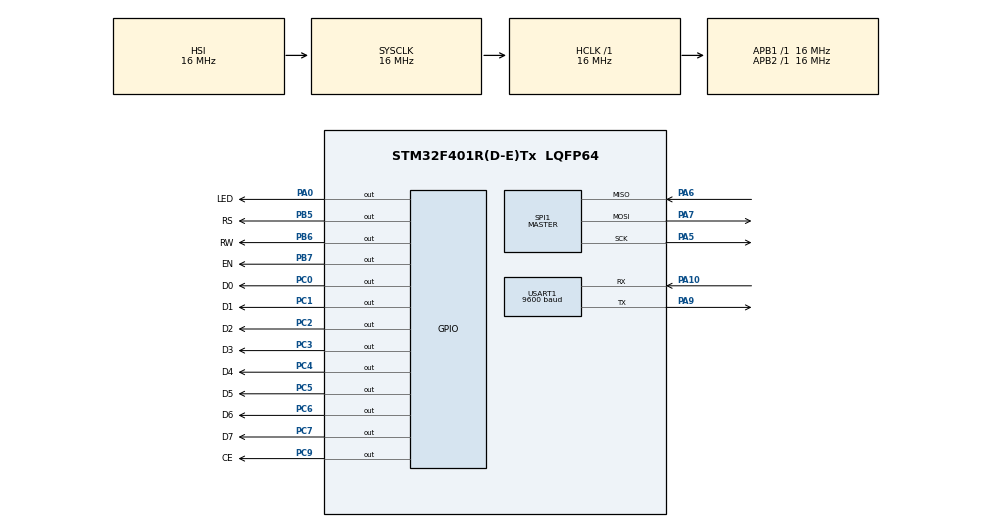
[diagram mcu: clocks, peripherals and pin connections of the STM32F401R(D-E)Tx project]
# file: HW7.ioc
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Mcu.Family=STM32F4
PA6.Mode=Full_Duplex_Master
RCC.CortexFreq_Value=16000000
PA7.Mode=Full_Duplex_Master
PA10.Mode=Asynchronous
SPI1.VirtualType=VM_MASTER
PC9.GPIO_Label=CE
USART1.BaudRate=9600
PC4.Signal=GPIO_Output
PC2.Signal=GPIO_Output
PC6.Signal=GPIO_Output
PC0.GPIO_Label=D0
PC6.GPIO_Label=D6
PB6.GPIO_Label=RW
SPI1.CLKPhase=SPI_PHASE_2EDGE
PC0.Signal=GPIO_Output
ProjectManager.StackSize=0x4000
PA0-WKUP.GPIO_Label=LED
PA0-WKUP.Signal=GPIO_Output
PA9.Mode=Asynchronous
ProjectManager.TargetToolchain=MDK-ARM V5
SPI1.Direction=SPI_DIRECTION_2LINES
PA9.Signal=USART1_TX
PB6.Signal=GPIO_Output
PC7.Signal=GPIO_Output
PC3.Signal=GPIO_Output
RCC.LSE_VALUE=32768
RCC.AHBFreq_Value=16000000
PA5.Signal=SPI1_SCK
RCC.HSE_VALUE=25000000
board=custom
RCC.VCOOutputFreq_Value=192000000
NVIC.SPI1_IRQn=true\:0\:0\:false\:false\:true\:true\:true
RCC.APB2Freq_Value=16000000
PC4.GPIO_Label=D4
SPI1.Mode=SPI_MODE_MASTER
PC1.GPIO_Label=D1
PB7.Signal=GPIO_Output
Mcu.Name=STM32F401R(D-E)Tx
PC7.GPIO_Label=D7
PB7.GPIO_Label=EN
RCC.SYSCLKFreq_VALUE=16000000
Mcu.Package=LQFP64
PB5.Signal=GPIO_Output
PA6.Signal=SPI1_MISO
PC5.GPIO_Label=D5
USART1.VirtualMode=VM_ASYNC
PA10.Signal=USART1_RX
ProjectManager.HeapSize=0x2000
RCC.HSI_VALUE=16000000
NVIC.PriorityGroup=NVIC_PRIORITYGROUP_4
PB5.GPIO_Label=RS
PC3.GPIO_Label=D3
PC5.Signal=GPIO_Output
PC9.Signal=GPIO_Output
NVIC.USART1_IRQn=true\:0\:0\:false\:false\:true\:true\:true
RCC.APB1Freq_Value=16000000
SPI1.BaudRatePrescaler=SPI_BAUDRATEPRESCALER_64
PC2.GPIO_Label=D2
PC1.Signal=GPIO_Output
PA5.Mode=Full_Duplex_Master
PA7.Signal=SPI1_MOSI

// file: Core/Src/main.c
/* USER CODE BEGIN Header */
/**
  ******************************************************************************
  * @file           : main.c
  * @brief          : Main program body
  ******************************************************************************
  * @attention
  *
  * <h2><center>&copy; Copyright (c) 2021 STMicroelectronics.
  * All rights reserved.</center></h2>
  *
  * This software component is licensed by ST under BSD 3-Clause license,
  * the "License"; You may not use this file except in compliance with the
  * License. You may obtain a copy of the License at:
  *                        opensource.org/licenses/BSD-3-Clause
  *
  ******************************************************************************
  */
/* USER CODE END Header */
#include "main.h"

/* USER CODE BEGIN Includes */
#include <stdio.h>
#include <string.h>
/* USER CODE END Includes */

/* USER CODE BEGIN PD */
#define RS 0x20 /* PB5 mask for reg select */
#define RW 0x40 /* PB6 mask for read/write */
#define EN 0x80 /* PB7 mask for enable */

#define ROW_COUNT 2
/* USER CODE END PD */

SPI_HandleTypeDef hspi1;

UART_HandleTypeDef huart1;

/* USER CODE BEGIN PV */
uint8_t TC72_CONTROL_REGISTER_ADD = 0x80;
uint8_t TC72_CONTROL_REGISTER_VALUE = 0x04;
uint8_t TC72_LSB_TEMP_ADD = 0x01;
uint8_t TC72_MSB_TEMP_ADD = 0x02;

int displayOn = 1;
int cursorOn = 1;
/* USER CODE END PV */

void SystemClock_Config(void);
static void MX_GPIO_Init(void);
static void MX_SPI1_Init(void);
static void MX_USART1_UART_Init(void);
/* USER CODE BEGIN PFP */
int lcdInit(int row);
void lcdHome(void);
void lcdClear(void);
void lcdDisplay(void);
void lcdCursor(void);
void lcdCursorBlink(int state);
void lcdSendCommand(unsigned char command);
void lcdPosition(int x, int y);
void lcdPutchar(unsigned char data);
void lcdPuts(const char *string);
/* USER CODE END PFP */

int main(void)
{
  /* USER CODE BEGIN 1 */
  char uart_buf[100];
  int uart_buf_len;
  uint8_t spi_buf[100];
  char textToWrite[100];
  /* USER CODE END 1 */

  /* MCU Configuration--------------------------------------------------------*/

  /* Reset of all peripherals, Initializes the Flash interface and the Systick. */
  HAL_Init();

  /* Configure the system clock */
  SystemClock_Config();

  /* Initialize all configured peripherals */
  MX_GPIO_Init();
  MX_SPI1_Init();
  MX_USART1_UART_Init();
  /* USER CODE BEGIN 2 */
  lcdInit(ROW_COUNT);

  uart_buf_len = sprintf(uart_buf, "SPI Temperature Sensor:\r\n");
  HAL_UART_Transmit(&huart1, (uint8_t *)uart_buf, uart_buf_len, 100);
  /* USER CODE END 2 */

  /* Infinite loop */
  while (1)
  {
    // HAL_GPIO_WritePin(GPIOA, GPIO_PIN_0, GPIO_PIN_SET);
    // HAL_Delay(1000);
    // HAL_GPIO_WritePin(GPIOA, GPIO_PIN_0, GPIO_PIN_RESET);
    // HAL_Delay(1000);

    HAL_GPIO_WritePin(GPIOC, GPIO_PIN_9, GPIO_PIN_SET);
    HAL_SPI_Transmit(&hspi1, &TC72_CONTROL_REGISTER_ADD, 1, HAL_MAX_DELAY);
    HAL_SPI_Transmit(&hspi1, &TC72_CONTROL_REGISTER_VALUE, 1, HAL_MAX_DELAY);
    HAL_GPIO_WritePin(GPIOC, GPIO_PIN_9, GPIO_PIN_RESET);

    HAL_Delay(200);

    HAL_GPIO_WritePin(GPIOC, GPIO_PIN_9, GPIO_PIN_SET);
    HAL_SPI_Transmit(&hspi1, &TC72_MSB_TEMP_ADD, 1, HAL_MAX_DELAY);
    HAL_SPI_Receive(&hspi1, spi_buf, 1, HAL_MAX_DELAY);
    HAL_GPIO_WritePin(GPIOC, GPIO_PIN_9, GPIO_PIN_RESET);

    int temp = spi_buf[0];
    temp = temp <= 125 ? temp : temp - 256;

    uart_buf_len = sprintf(uart_buf, "Received: %d\r\n", temp);
    HAL_UART_Transmit(&huart1, (uint8_t *)uart_buf, uart_buf_len, HAL_MAX_DELAY);

    char degreeSign[] = {96, 'C'};
    int textToWriteLen = sprintf(textToWrite, "Temp: %d %s", temp, degreeSign);

    lcdPuts(textToWrite);
    HAL_Delay(500);

    lcdClear();
    lcdHome();
  }
}

void SystemClock_Config(void)
{
  RCC_OscInitTypeDef RCC_OscInitStruct = {0};
  RCC_ClkInitTypeDef RCC_ClkInitStruct = {0};

  /** Configure the main internal regulator output voltage
  */
  __HAL_RCC_PWR_CLK_ENABLE();
  __HAL_PWR_VOLTAGESCALING_CONFIG(PWR_REGULATOR_VOLTAGE_SCALE2);
  /** Initializes the RCC Oscillators according to the specified parameters
  * in the RCC_OscInitTypeDef structure.
  */
  RCC_OscInitStruct.OscillatorType = RCC_OSCILLATORTYPE_HSI;
  RCC_OscInitStruct.HSIState = RCC_HSI_ON;
  RCC_OscInitStruct.HSICalibrationValue = RCC_HSICALIBRATION_DEFAULT;
  RCC_OscInitStruct.PLL.PLLState = RCC_PLL_NONE;
  if (HAL_RCC_OscConfig(&RCC_OscInitStruct) != HAL_OK)
  {
    Error_Handler();
  }
  /** Initializes the CPU, AHB and APB buses clocks
  */
  RCC_ClkInitStruct.ClockType = RCC_CLOCKTYPE_HCLK | RCC_CLOCKTYPE_SYSCLK | RCC_CLOCKTYPE_PCLK1 | RCC_CLOCKTYPE_PCLK2;
  RCC_ClkInitStruct.SYSCLKSource = RCC_SYSCLKSOURCE_HSI;
  RCC_ClkInitStruct.AHBCLKDivider = RCC_SYSCLK_DIV1;
  RCC_ClkInitStruct.APB1CLKDivider = RCC_HCLK_DIV1;
  RCC_ClkInitStruct.APB2CLKDivider = RCC_HCLK_DIV1;

  if (HAL_RCC_ClockConfig(&RCC_ClkInitStruct, FLASH_LATENCY_0) != HAL_OK)
  {
    Error_Handler();
  }
}

static void MX_SPI1_Init(void)
{

  /* SPI1 parameter configuration*/
  hspi1.Instance = SPI1;
  hspi1.Init.Mode = SPI_MODE_MASTER;
  hspi1.Init.Direction = SPI_DIRECTION_2LINES;
  hspi1.Init.DataSize = SPI_DATASIZE_8BIT;
  hspi1.Init.CLKPolarity = SPI_POLARITY_LOW;
  hspi1.Init.CLKPhase = SPI_PHASE_2EDGE;
  hspi1.Init.NSS = SPI_NSS_SOFT;
  hspi1.Init.BaudRatePrescaler = SPI_BAUDRATEPRESCALER_64;
  hspi1.Init.FirstBit = SPI_FIRSTBIT_MSB;
  hspi1.Init.TIMode = SPI_TIMODE_DISABLE;
  hspi1.Init.CRCCalculation = SPI_CRCCALCULATION_DISABLE;
  hspi1.Init.CRCPolynomial = 10;
  if (HAL_SPI_Init(&hspi1) != HAL_OK)
  {
    Error_Handler();
  }
}

static void MX_USART1_UART_Init(void)
{

  huart1.Instance = USART1;
  huart1.Init.BaudRate = 9600;
  huart1.Init.WordLength = UART_WORDLENGTH_8B;
  huart1.Init.StopBits = UART_STOPBITS_1;
  huart1.Init.Parity = UART_PARITY_NONE;
  huart1.Init.Mode = UART_MODE_TX_RX;
  huart1.Init.HwFlowCtl = UART_HWCONTROL_NONE;
  huart1.Init.OverSampling = UART_OVERSAMPLING_16;
  if (HAL_UART_Init(&huart1) != HAL_OK)
  {
    Error_Handler();
  }
}

static void MX_GPIO_Init(void)
{
  GPIO_InitTypeDef GPIO_InitStruct = {0};

  /* GPIO Ports Clock Enable */
  __HAL_RCC_GPIOC_CLK_ENABLE();
  __HAL_RCC_GPIOA_CLK_ENABLE();
  __HAL_RCC_GPIOB_CLK_ENABLE();

  /*Configure GPIO pin Output Level */
  HAL_GPIO_WritePin(GPIOC, D0_Pin | D1_Pin | D2_Pin | D3_Pin | D4_Pin | D5_Pin | D6_Pin | D7_Pin | CE_Pin, GPIO_PIN_RESET);

  /*Configure GPIO pin Output Level */
  HAL_GPIO_WritePin(LED_GPIO_Port, LED_Pin, GPIO_PIN_RESET);

  /*Configure GPIO pin Output Level */
  HAL_GPIO_WritePin(GPIOB, RS_Pin | RW_Pin | EN_Pin, GPIO_PIN_RESET);

  /*Configure GPIO pins : D0_Pin D1_Pin D2_Pin D3_Pin
                           D4_Pin D5_Pin D6_Pin D7_Pin
                           CE_Pin */
  GPIO_InitStruct.Pin = D0_Pin | D1_Pin | D2_Pin | D3_Pin | D4_Pin | D5_Pin | D6_Pin | D7_Pin | CE_Pin;
  GPIO_InitStruct.Mode = GPIO_MODE_OUTPUT_PP;
  GPIO_InitStruct.Pull = GPIO_NOPULL;
  GPIO_InitStruct.Speed = GPIO_SPEED_FREQ_LOW;
  HAL_GPIO_Init(GPIOC, &GPIO_InitStruct);

  /*Configure GPIO pin : LED_Pin */
  GPIO_InitStruct.Pin = LED_Pin;
  GPIO_InitStruct.Mode = GPIO_MODE_OUTPUT_PP;
  GPIO_InitStruct.Pull = GPIO_NOPULL;
  GPIO_InitStruct.Speed = GPIO_SPEED_FREQ_LOW;
  HAL_GPIO_Init(LED_GPIO_Port, &GPIO_InitStruct);

  /*Configure GPIO pins : RS_Pin RW_Pin EN_Pin */
  GPIO_InitStruct.Pin = RS_Pin | RW_Pin | EN_Pin;
  GPIO_InitStruct.Mode = GPIO_MODE_OUTPUT_PP;
  GPIO_InitStruct.Pull = GPIO_NOPULL;
  GPIO_InitStruct.Speed = GPIO_SPEED_FREQ_LOW;
  HAL_GPIO_Init(GPIOB, &GPIO_InitStruct);
}

/* USER CODE BEGIN 4 */
int lcdInit(int row)
{
  HAL_Delay(30); /* initialization sequence */
  if (row == 1)
  {
    lcdSendCommand(0x30); /* set 8-bit data, 1-line, 5x7 font */
  }
  else
  {
    lcdSendCommand(0x38); /* set 8-bit data, 2-line, 5x7 font */
  }

  lcdSendCommand(0x0F); /* turn on display, cursor blinking */

  lcdSendCommand(0x01); /* clear screen, move cursor to home */

  lcdSendCommand(0x06); /* move cursor right after each char */
  return 0;
}

void lcdHome(void)
{
  lcdSendCommand(0x02);
  return;
}

void lcdClear(void)
{
  lcdSendCommand(0x01);
  return;
}

void lcdDisplay(void)
{
  if (displayOn)
  {
    displayOn = 0;
    lcdSendCommand(0x08); /* display off, cursor off, blink off */
  }
  else
  {
    displayOn = 1;
    lcdSendCommand(0x0F);
  }
  return;
}

void lcdCursor(void)
{
  if (cursorOn)
  {
    cursorOn = 0;
    lcdSendCommand(0x0C);
  }
  else
  {
    cursorOn = 1;
    lcdSendCommand(0x0F);
  }
  return;
}

void lcdCursorBlink(int state)
{
  if (state)
  {
    lcdSendCommand(0x0F);
  }
  else
  {
    lcdSendCommand(0x0E);
  }
  return;
}

void lcdSendCommand(unsigned char command)
{
  GPIOB->BSRR = (RS | RW) << 16; /* RS = 0, R/W = 0 */
  GPIOC->ODR = command;          /* put command on data bus */
  GPIOB->BSRR = EN;              /* pulse E high */
  HAL_Delay(0);
  GPIOB->BSRR = EN << 16; /* clear E */

  if (command < 4)
    HAL_Delay(2); /* command 1 and 2 needs up to 1.64ms */
  else
    HAL_Delay(1); /* all others 40 us */
  return;
}

void lcdPosition(int x, int y)
{
  int i = 0;
  switch (y)
  {
  case 1:
  {
    lcdSendCommand(0x80);
    break;
  }
  case 2:
  {
    lcdSendCommand(0xC0);
    break;
  }
  case 3:
  {
    lcdSendCommand(0x90);
    break;
  }
  case 4:
  {
    lcdSendCommand(0xD0);
    break;
  }
  }

  for (i = 0; i < x; i++)
  {
    lcdSendCommand(0x14);
  }
  return;
}

void lcdPutchar(unsigned char data)
{
  GPIOB->BSRR = RS;       /* RS = 1 */
  GPIOB->BSRR = RW << 16; /* R/W = 0 */
  GPIOC->ODR = data;      /* put data on data bus */
  GPIOB->BSRR = EN;       /* pulse E high */
  HAL_Delay(0);
  GPIOB->BSRR = EN << 16; /* clear E */

  HAL_Delay(1);
  return;
}

void lcdPuts(const char *string)
{
  int i = 0;
  for (i = 0; i < strlen(string); i++)
  {
    lcdPutchar(string[i]);
    HAL_Delay(10);
  }
  return;
}
/* USER CODE END 4 */

void Error_Handler(void)
{
  __disable_irq();
  while (1)
  {
  }
}

/************************ (C) COPYRIGHT STMicroelectronics *****END OF FILE****/
